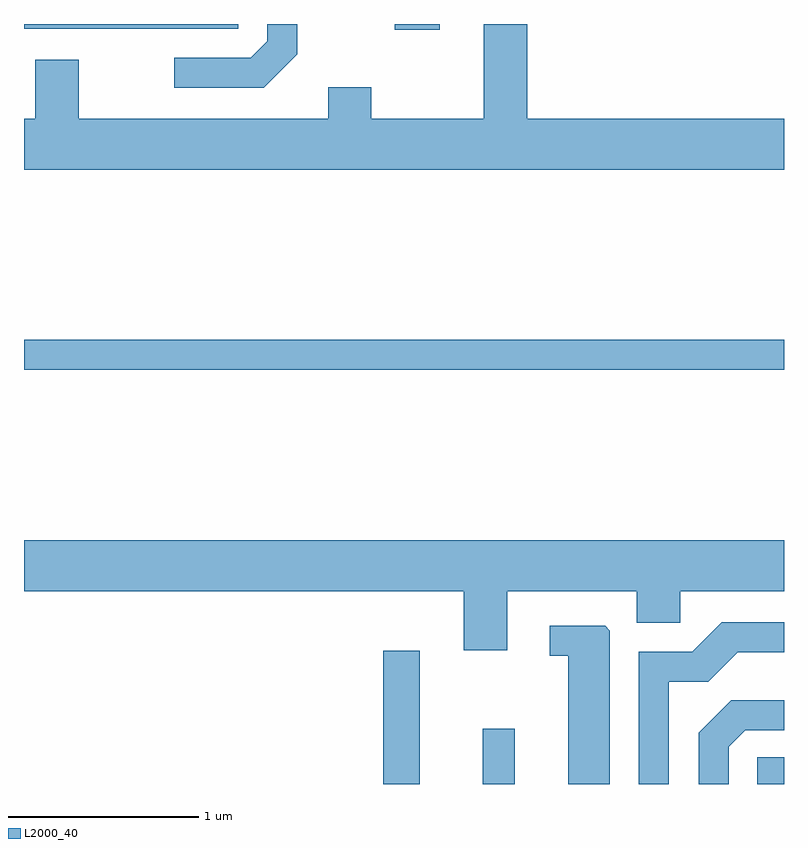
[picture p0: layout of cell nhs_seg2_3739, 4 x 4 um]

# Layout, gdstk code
import gdstk
lib = gdstk.Library(unit=1e-6, precision=1e-09)
def R(c, l, rs):  # rectangles x0, y0, x1, y1
    for r in rs: c.add(gdstk.rectangle(r[:2], r[2:], *l))
def P(c, l, *ps):  # polygons
    for p in ps: c.add(gdstk.Polygon(p, *l))
L2000_40 = (2000, 40)

nhs_seg2_3739 = lib.new_cell('nhs_seg2_3739')
R(nhs_seg2_3739, L2000_40, [(297.501,991.802,297.694,992.504), (298.026,991.802,298.194,992.093), (299.471,991.802,299.611,991.943), (295.611,993.981,299.611,994.139), (297.563,995.771,297.799,995.802), (295.611,995.776,296.739,995.802)])
P(nhs_seg2_3739, L2000_40, [(299.611,995.304),(298.259,995.304),(298.259,995.802),(298.031,995.802),(298.031,995.304),(297.439,995.304),(297.439,995.469),(297.211,995.469),(297.211,995.304),(295.899,995.304),(295.899,995.614),(295.671,995.614),(295.671,995.304),(295.611,995.304),(295.611,995.036),(299.611,995.036)],
  [(297.049,995.644),(297.049,995.802),(296.891,995.802),(296.891,995.712),(296.804,995.624),(296.403,995.624),(296.403,995.466),(296.872,995.466)],
  [(298.154,992.816),(298.836,992.816),(298.836,992.651),(299.064,992.651),(299.064,992.816),(299.611,992.816),(299.611,993.084),(295.611,993.084),(295.611,992.816),(297.926,992.816),(297.926,992.506),(298.154,992.506)],
  [(299.004,992.341),(299.212,992.341),(299.367,992.496),(299.611,992.496),(299.611,992.654),(299.284,992.654),(299.129,992.499),(298.846,992.499),(298.846,991.802),(299.004,991.802)],
  [(298.694,992.609),(298.669,992.634),(298.378,992.634),(298.378,992.476),(298.476,992.476),(298.476,991.802),(298.694,991.802)],
  [(299.319,991.999),(299.407,992.086),(299.611,992.086),(299.611,992.244),(299.334,992.244),(299.161,992.072),(299.161,991.802),(299.319,991.802)])

lib.write_gds('nhs_seg2_3739.gds')
